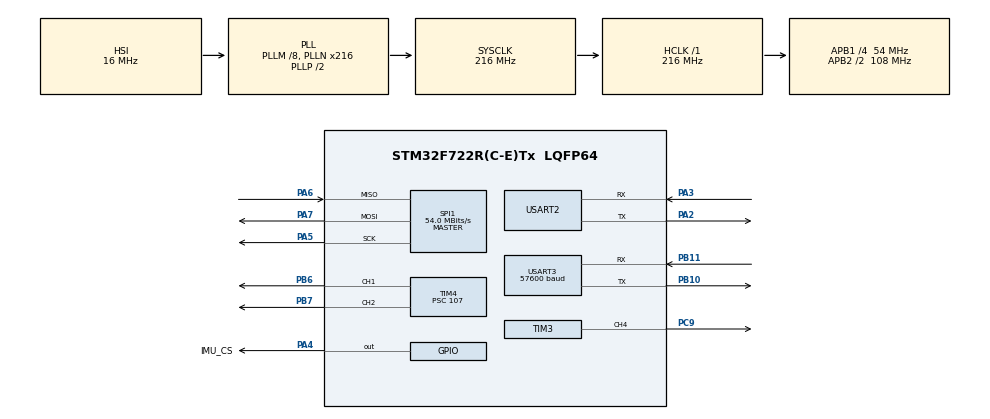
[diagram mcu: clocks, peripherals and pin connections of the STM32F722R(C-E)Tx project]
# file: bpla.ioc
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CORTEX_M7.default_mode_Activation=1
Mcu.Family=STM32F7
Mcu.Name=STM32F722R(C-E)Tx
Mcu.Package=LQFP64
NVIC.PriorityGroup=NVIC_PRIORITYGROUP_4
PA2.Mode=Asynchronous
PA2.Signal=USART2_TX
PA3.Mode=Asynchronous
PA3.Signal=USART2_RX
PA4.GPIO_Label=IMU_CS
PA4.GPIO_PuPd=GPIO_PULLUP
PA4.PinState=GPIO_PIN_SET
PA4.Signal=GPIO_Output
PA5.Mode=Full_Duplex_Master
PA5.Signal=SPI1_SCK
PA6.Mode=Full_Duplex_Master
PA6.Signal=SPI1_MISO
PA7.Mode=Full_Duplex_Master
PA7.Signal=SPI1_MOSI
PB1.Signal=EVENTOUT
PB10.Mode=Asynchronous
PB10.Signal=USART3_TX
PB11.Mode=Asynchronous
PB11.Signal=USART3_RX
PB6.Signal=S_TIM4_CH1
PB7.Signal=S_TIM4_CH2
PC9.Signal=S_TIM3_CH4
ProjectManager.HeapSize=0x200
ProjectManager.StackSize=0x400
ProjectManager.TargetToolchain=STM32CubeIDE
RCC.AHBFreq_Value=216000000
RCC.APB1CLKDivider=RCC_HCLK_DIV4
RCC.APB1Freq_Value=54000000
RCC.APB1TimFreq_Value=108000000
RCC.APB2CLKDivider=RCC_HCLK_DIV2
RCC.APB2Freq_Value=108000000
RCC.APB2TimFreq_Value=216000000
RCC.CortexFreq_Value=216000000
RCC.HCLKFreq_Value=216000000
RCC.HSE_VALUE=26000000
RCC.HSI_VALUE=16000000
RCC.LSE_VALUE=32768
RCC.PLLM=8
RCC.PLLN=216
RCC.SYSCLKFreq_VALUE=216000000
RCC.SYSCLKSource=RCC_SYSCLKSOURCE_PLLCLK
RCC.USBFreq_Value=216000000
RCC.VCOOutputFreq_Value=432000000
SH.S_TIM3_CH4.0=TIM3_CH4,PWM Generation4 CH4
SH.S_TIM4_CH1.0=TIM4_CH1,PWM Generation1 CH1
SH.S_TIM4_CH2.0=TIM4_CH2,PWM Generation2 CH2
SPI1.CLKPhase=SPI_PHASE_2EDGE
SPI1.CLKPolarity=SPI_POLARITY_HIGH
SPI1.CalculateBaudRate=54.0 MBits/s
SPI1.DataSize=SPI_DATASIZE_8BIT
SPI1.Direction=SPI_DIRECTION_2LINES
SPI1.Mode=SPI_MODE_MASTER
SPI1.VirtualType=VM_MASTER
TIM3.Channel-PWM\ Generation4\ CH4=TIM_CHANNEL_4
TIM3.Period=2000
TIM3.Prescaler=107
TIM4.Channel-PWM\ Generation1\ CH1=TIM_CHANNEL_1
TIM4.Channel-PWM\ Generation2\ CH2=TIM_CHANNEL_2
TIM4.Period=2000
TIM4.Prescaler=107
USART2.VirtualMode-Asynchronous=VM_ASYNC
USART3.BaudRate=57600
USART3.VirtualMode-Asynchronous=VM_ASYNC
VP_TIM3_VS_ClockSourceINT.Mode=Internal
VP_TIM4_VS_ClockSourceINT.Mode=Internal
board=custom

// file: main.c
/* USER CODE BEGIN Header */
/**
  ******************************************************************************
  * @file           : main.c
  * @brief          : Main program body
  ******************************************************************************
  * @attention
  *
  * Copyright (c) 2026 STMicroelectronics.
  * All rights reserved.
  *
  * This software is licensed under terms that can be found in the LICENSE file
  * in the root directory of this software component.
  * If no LICENSE file comes with this software, it is provided AS-IS.
  *
  ******************************************************************************
  */
/* USER CODE END Header */
#include "main.h"

/* USER CODE BEGIN Includes */
#define IBUS_FRAME_SIZE 32
#define IBUS_CHANNELS 14

uint8_t ibus_rx_buffer[IBUS_FRAME_SIZE];
uint16_t ibus_channels[IBUS_CHANNELS];

/* USER CODE END Includes */

SPI_HandleTypeDef hspi1;

TIM_HandleTypeDef htim3;
TIM_HandleTypeDef htim4;

UART_HandleTypeDef huart2;
UART_HandleTypeDef huart3;

char rx_buffer[32]; // Буфер для накопления строки
int rx_index = 0;  // Индекс текущего символа

/* USER CODE BEGIN PV */
uint8_t control_mode = 0; // 0 - пульт (iBus), 1 - радио (UART)
uint8_t cmd_byte = 0;
int16_t right_elevon;
int16_t left_elevon;
float angle_roll = 0, angle_pitch = 0;
float angleX_gyro = 0, angleY_gyro = 0, yaw = 0;
uint32_t last_tick = 0;
const float K_DRONE = 0.05f; // Коэффициент фильтра

/* USER CODE END PV */

void SystemClock_Config(void);
static void MPU_Config(void);
static void MX_GPIO_Init(void);
static void MX_USART2_UART_Init(void);
static void MX_TIM4_Init(void);
static void MX_SPI1_Init(void);
static void MX_USART3_UART_Init(void);
static void MX_TIM3_Init(void);

/* USER CODE BEGIN 0 */
/* USER CODE BEGIN 0 */
int _write(int file, char *ptr, int len){
	HAL_UART_Transmit(&huart3, (uint8_t*) ptr, len, 100); return len;
}
void Process_Radio_Commands(UART_HandleTypeDef *huart) {
	if (__HAL_UART_GET_FLAG(huart, UART_FLAG_ORE) != RESET) {
	        __HAL_UART_CLEAR_OREFLAG(huart);
	    }

    uint8_t byte = 0;

    // Используем таймаут 0, чтобы не блокировать цикл
    while(HAL_UART_Receive(huart, &byte, 1, 0) == HAL_OK){
    	if(byte =='\n' || byte =='\r'){
    		rx_buffer[rx_index] = '\0';  //закрываем строку

    		if (rx_index > 0){
    			char cmd;
    			int arg;

    			//парсим накопленное
    			if(sscanf(rx_buffer, "%c %d", &cmd, &arg) >=2){
    				switch(cmd) {
    					case '1':
    						//Тангаж, вверх
    						TIM4->CCR2 = arg; TIM4->CCR1 = arg;
    						break;
    				    case '2':
    				    	//Тангаж вниз
    				    	TIM4->CCR2 = arg; TIM4->CCR1 = arg;
    				        break;
    				    case '3':
    				        //Крен влево
    				        TIM4->CCR2 = 3000 - arg; TIM4->CCR1 = arg;
    				        break;
    				    case '4':
    				        //Крен вправо
    				        TIM4->CCR2 = arg; TIM4->CCR1 = 3000 - arg;
    				        break;
    				    case '0':
    				        //нейтраль
    				        TIM4->CCR2 = 1500; TIM4->CCR1 = 1500;
    				        break;
    				    case '9'://запуск параш
    				        TIM3->CCR4 = 500;
    				        break;
    				    case '8'://стоп параш
    				        TIM3->CCR4 = 1500;
    				        break;
    				    default:
    				        break;
    			}
    		}
    	}
    	rx_index = 0; //обнуляем индекс для следующей команды
    }
    else{
    	if (rx_index < (sizeof(rx_buffer) - 1)) {
    		rx_buffer[rx_index++] = (char)byte;
    	}

    }
}
}

/* USER CODE END 0 */

int main(void)
{

  /* USER CODE BEGIN 1 */
	void hello_imu(void){
		  uint8_t data_rx[8];
		  uint8_t who_am_i = 0x75 | 0x80; // 0x80 - маска с приёмом данных читать даташит !!!!!
		  HAL_GPIO_WritePin(GPIOA, GPIO_PIN_4, 0);
		  HAL_SPI_Transmit(&hspi1, &who_am_i, 1, 100); //просим данные в регистр who_am_i он его не видит
		  HAL_SPI_Receive(&hspi1, &data_rx, 8, 100);
		  HAL_GPIO_WritePin(GPIOA, GPIO_PIN_4, 1);
	}

	uint16_t get_data_accel_axis(uint8_t upper_register_accel_axis){
		uint8_t data_accel = upper_register_accel_axis | 0x80;
		uint8_t data_accel_buff[2];
		HAL_GPIO_WritePin(GPIOA, GPIO_PIN_4, 0);
		HAL_SPI_Transmit(&hspi1, &data_accel, 1, 100);
		HAL_SPI_Receive(&hspi1, data_accel_buff, 2, 100);
		HAL_GPIO_WritePin(GPIOA, GPIO_PIN_4, 1);

		return (uint16_t)((data_accel_buff[0] << 8) | data_accel_buff[1]);
	}

	uint16_t get_data_gyro_axis(uint8_t upper_register_gyro_axis){
		uint8_t data_gyro = upper_register_gyro_axis | 0x80;
		uint8_t data_gyro_buff[2];
		HAL_GPIO_WritePin(GPIOA, GPIO_PIN_4, 0);
		HAL_SPI_Transmit(&hspi1, &data_gyro, 1, 100);
		HAL_SPI_Receive(&hspi1, data_gyro_buff, 2, 100);
		HAL_GPIO_WritePin(GPIOA, GPIO_PIN_4, 1);

		return (uint16_t)((data_gyro_buff[0] << 8) | data_gyro_buff[1]);
	}
  /* USER CODE END 1 */

  /* MPU Configuration--------------------------------------------------------*/
  MPU_Config();

  /* MCU Configuration--------------------------------------------------------*/

  /* Reset of all peripherals, Initializes the Flash interface and the Systick. */
  HAL_Init();

  /* Configure the system clock */
  SystemClock_Config();

  /* Initialize all configured peripherals */
  MX_GPIO_Init();
  MX_USART2_UART_Init();
  MX_TIM4_Init();
  MX_SPI1_Init();
  MX_USART3_UART_Init();
  MX_TIM3_Init();
  /* USER CODE BEGIN 2 */
 // HAL_UART_Receive_DMA(&huart2, ibus_rx_buffer, 32);
  HAL_TIM_PWM_Start(&htim4, TIM_CHANNEL_1);
  HAL_TIM_PWM_Start(&htim4, TIM_CHANNEL_2);
  HAL_TIM_PWM_Start(&htim3, TIM_CHANNEL_4);
 // setup_function_imu();
  //TIM4->CCR2 = 1000;

  /* USER CODE END 2 */

  /* Infinite loop */
  while (1)
  {

    /* USER CODE BEGIN 3 */
	  //TIM4->CCR2 = 1000;
	  //HAL_Delay(500);
	  //TIM4->CCR2 = 2000;
	  //HAL_Delay(500);
	  // 1. Получаем сырые данные из библиотеки(imu.ax, imu.gx и т.д.)
// IMU_data_update();

	  // 2. Фильтруем их и отправляем в консоль Python0
//	  update_fltr_and_send();

	  // 3. Слушаем джойстик (управление)

	 Process_Radio_Commands(&huart3);

//	  HAL_Delay(10); // Частота ~100 Гц
/*
	  if (ibus_rx_buffer[0] == 0x20 && ibus_rx_buffer[1] == 0x40){
		  uint16_t calculate = 0xFFFF;
		  for(int i = 0; i < 30; i++){
			  calculate -= ibus_rx_buffer[i];
		  }

		  uint16_t rbp = 0x0000;
		  rbp = ibus_rx_buffer[31];
		  rbp = (rbp << 8);

		  if (calculate == rbp | ibus_rx_buffer[30]){
			  for (int ch = 0; ch < 6; ch++) {
			             ibus_channels[ch] = ibus_rx_buffer[2 + ch*2] | (ibus_rx_buffer[3 + ch*2] << 8);
			         }

			  //значения крена (roll) и тангажа (pitch) 1000-2000
			  // тангаж ch2 крен ch1
			  int16_t roll = ((int16_t)ibus_channels[1]-1500)/2;
			  int16_t pitch = ((int16_t)ibus_channels[2]-1500)/2;

	  	  	  //int16_t pitch2 = 200;
	  	  	  //int16_t roll2 =100;
			  //int16_t right_elevon = 1500+pitch+roll;
			  //int16_t left_elevon = 1500+pitch-roll;
			  right_elevon = 1000;
			  left_elevon = 1000;

			  TIM4 -> CCR1 = right_elevon;
			  TIM4 -> CCR2 = left_elevon;
		  }
	  }

	  // проверка связи на IMU
	  hello_imu();

	  //получение данных с акселерометра
	  uint16_t data_accel_x = get_data_accel_axis(0x1F);
	  uint16_t data_accel_y = get_data_accel_axis(0x21);
	  uint16_t data_accel_z = get_data_accel_axis(0x23);
	  /*uint8_t data_accel_upper_x = 0x1F | 0x80;
	  uint8_t data_accel_buff[2];
	  HAL_SPI_Transmit(&hspi1, &data_accel_upper_x, 1, 100);
	  HAL_SPI_Receive(&hspi1, data_accel_buff, 2, 100);

	  uint16_t data_accel_x = (uint16_t)((data_accel_buff[0] << 8) | data_accel_buff[1]) ;
*/

  }
  /* USER CODE END 3 */
}

void SystemClock_Config(void)
{
  RCC_OscInitTypeDef RCC_OscInitStruct = {0};
  RCC_ClkInitTypeDef RCC_ClkInitStruct = {0};

  /** Configure the main internal regulator output voltage
  */
  __HAL_RCC_PWR_CLK_ENABLE();
  __HAL_PWR_VOLTAGESCALING_CONFIG(PWR_REGULATOR_VOLTAGE_SCALE1);

  /** Initializes the RCC Oscillators according to the specified parameters
  * in the RCC_OscInitTypeDef structure.
  */
  RCC_OscInitStruct.OscillatorType = RCC_OSCILLATORTYPE_HSI;
  RCC_OscInitStruct.HSIState = RCC_HSI_ON;
  RCC_OscInitStruct.HSICalibrationValue = RCC_HSICALIBRATION_DEFAULT;
  RCC_OscInitStruct.PLL.PLLState = RCC_PLL_ON;
  RCC_OscInitStruct.PLL.PLLSource = RCC_PLLSOURCE_HSI;
  RCC_OscInitStruct.PLL.PLLM = 8;
  RCC_OscInitStruct.PLL.PLLN = 216;
  RCC_OscInitStruct.PLL.PLLP = RCC_PLLP_DIV2;
  RCC_OscInitStruct.PLL.PLLQ = 2;
  if (HAL_RCC_OscConfig(&RCC_OscInitStruct) != HAL_OK)
  {
    Error_Handler();
  }

  /** Activate the Over-Drive mode
  */
  if (HAL_PWREx_EnableOverDrive() != HAL_OK)
  {
    Error_Handler();
  }

  /** Initializes the CPU, AHB and APB buses clocks
  */
  RCC_ClkInitStruct.ClockType = RCC_CLOCKTYPE_HCLK|RCC_CLOCKTYPE_SYSCLK
                              |RCC_CLOCKTYPE_PCLK1|RCC_CLOCKTYPE_PCLK2;
  RCC_ClkInitStruct.SYSCLKSource = RCC_SYSCLKSOURCE_PLLCLK;
  RCC_ClkInitStruct.AHBCLKDivider = RCC_SYSCLK_DIV1;
  RCC_ClkInitStruct.APB1CLKDivider = RCC_HCLK_DIV4;
  RCC_ClkInitStruct.APB2CLKDivider = RCC_HCLK_DIV2;

  if (HAL_RCC_ClockConfig(&RCC_ClkInitStruct, FLASH_LATENCY_7) != HAL_OK)
  {
    Error_Handler();
  }
}

static void MX_SPI1_Init(void)
{

  /* SPI1 parameter configuration*/
  hspi1.Instance = SPI1;
  hspi1.Init.Mode = SPI_MODE_MASTER;
  hspi1.Init.Direction = SPI_DIRECTION_2LINES;
  hspi1.Init.DataSize = SPI_DATASIZE_8BIT;
  hspi1.Init.CLKPolarity = SPI_POLARITY_HIGH;
  hspi1.Init.CLKPhase = SPI_PHASE_2EDGE;
  hspi1.Init.NSS = SPI_NSS_SOFT;
  hspi1.Init.BaudRatePrescaler = SPI_BAUDRATEPRESCALER_2;
  hspi1.Init.FirstBit = SPI_FIRSTBIT_MSB;
  hspi1.Init.TIMode = SPI_TIMODE_DISABLE;
  hspi1.Init.CRCCalculation = SPI_CRCCALCULATION_DISABLE;
  hspi1.Init.CRCPolynomial = 7;
  hspi1.Init.CRCLength = SPI_CRC_LENGTH_DATASIZE;
  hspi1.Init.NSSPMode = SPI_NSS_PULSE_DISABLE;
  if (HAL_SPI_Init(&hspi1) != HAL_OK)
  {
    Error_Handler();
  }

}

static void MX_TIM3_Init(void)
{

  TIM_ClockConfigTypeDef sClockSourceConfig = {0};
  TIM_MasterConfigTypeDef sMasterConfig = {0};
  TIM_OC_InitTypeDef sConfigOC = {0};

  htim3.Instance = TIM3;
  htim3.Init.Prescaler = 107;
  htim3.Init.CounterMode = TIM_COUNTERMODE_UP;
  htim3.Init.Period = 2000;
  htim3.Init.ClockDivision = TIM_CLOCKDIVISION_DIV1;
  htim3.Init.AutoReloadPreload = TIM_AUTORELOAD_PRELOAD_DISABLE;
  if (HAL_TIM_Base_Init(&htim3) != HAL_OK)
  {
    Error_Handler();
  }
  sClockSourceConfig.ClockSource = TIM_CLOCKSOURCE_INTERNAL;
  if (HAL_TIM_ConfigClockSource(&htim3, &sClockSourceConfig) != HAL_OK)
  {
    Error_Handler();
  }
  if (HAL_TIM_PWM_Init(&htim3) != HAL_OK)
  {
    Error_Handler();
  }
  sMasterConfig.MasterOutputTrigger = TIM_TRGO_RESET;
  sMasterConfig.MasterSlaveMode = TIM_MASTERSLAVEMODE_DISABLE;
  if (HAL_TIMEx_MasterConfigSynchronization(&htim3, &sMasterConfig) != HAL_OK)
  {
    Error_Handler();
  }
  sConfigOC.OCMode = TIM_OCMODE_PWM1;
  sConfigOC.Pulse = 0;
  sConfigOC.OCPolarity = TIM_OCPOLARITY_HIGH;
  sConfigOC.OCFastMode = TIM_OCFAST_DISABLE;
  if (HAL_TIM_PWM_ConfigChannel(&htim3, &sConfigOC, TIM_CHANNEL_4) != HAL_OK)
  {
    Error_Handler();
  }
  HAL_TIM_MspPostInit(&htim3);

}

static void MX_TIM4_Init(void)
{

  TIM_ClockConfigTypeDef sClockSourceConfig = {0};
  TIM_MasterConfigTypeDef sMasterConfig = {0};
  TIM_OC_InitTypeDef sConfigOC = {0};

  htim4.Instance = TIM4;
  htim4.Init.Prescaler = 107;
  htim4.Init.CounterMode = TIM_COUNTERMODE_UP;
  htim4.Init.Period = 2000;
  htim4.Init.ClockDivision = TIM_CLOCKDIVISION_DIV1;
  htim4.Init.AutoReloadPreload = TIM_AUTORELOAD_PRELOAD_DISABLE;
  if (HAL_TIM_Base_Init(&htim4) != HAL_OK)
  {
    Error_Handler();
  }
  sClockSourceConfig.ClockSource = TIM_CLOCKSOURCE_INTERNAL;
  if (HAL_TIM_ConfigClockSource(&htim4, &sClockSourceConfig) != HAL_OK)
  {
    Error_Handler();
  }
  if (HAL_TIM_PWM_Init(&htim4) != HAL_OK)
  {
    Error_Handler();
  }
  sMasterConfig.MasterOutputTrigger = TIM_TRGO_RESET;
  sMasterConfig.MasterSlaveMode = TIM_MASTERSLAVEMODE_DISABLE;
  if (HAL_TIMEx_MasterConfigSynchronization(&htim4, &sMasterConfig) != HAL_OK)
  {
    Error_Handler();
  }
  sConfigOC.OCMode = TIM_OCMODE_PWM1;
  sConfigOC.Pulse = 0;
  sConfigOC.OCPolarity = TIM_OCPOLARITY_HIGH;
  sConfigOC.OCFastMode = TIM_OCFAST_DISABLE;
  if (HAL_TIM_PWM_ConfigChannel(&htim4, &sConfigOC, TIM_CHANNEL_1) != HAL_OK)
  {
    Error_Handler();
  }
  if (HAL_TIM_PWM_ConfigChannel(&htim4, &sConfigOC, TIM_CHANNEL_2) != HAL_OK)
  {
    Error_Handler();
  }
  HAL_TIM_MspPostInit(&htim4);

}

static void MX_USART2_UART_Init(void)
{

  huart2.Instance = USART2;
  huart2.Init.BaudRate = 115200;
  huart2.Init.WordLength = UART_WORDLENGTH_8B;
  huart2.Init.StopBits = UART_STOPBITS_1;
  huart2.Init.Parity = UART_PARITY_NONE;
  huart2.Init.Mode = UART_MODE_TX_RX;
  huart2.Init.HwFlowCtl = UART_HWCONTROL_NONE;
  huart2.Init.OverSampling = UART_OVERSAMPLING_16;
  huart2.Init.OneBitSampling = UART_ONE_BIT_SAMPLE_DISABLE;
  huart2.AdvancedInit.AdvFeatureInit = UART_ADVFEATURE_NO_INIT;
  if (HAL_UART_Init(&huart2) != HAL_OK)
  {
    Error_Handler();
  }

}

static void MX_USART3_UART_Init(void)
{

  huart3.Instance = USART3;
  huart3.Init.BaudRate = 57600;
  huart3.Init.WordLength = UART_WORDLENGTH_8B;
  huart3.Init.StopBits = UART_STOPBITS_1;
  huart3.Init.Parity = UART_PARITY_NONE;
  huart3.Init.Mode = UART_MODE_TX_RX;
  huart3.Init.HwFlowCtl = UART_HWCONTROL_NONE;
  huart3.Init.OverSampling = UART_OVERSAMPLING_16;
  huart3.Init.OneBitSampling = UART_ONE_BIT_SAMPLE_DISABLE;
  huart3.AdvancedInit.AdvFeatureInit = UART_ADVFEATURE_NO_INIT;
  if (HAL_UART_Init(&huart3) != HAL_OK)
  {
    Error_Handler();
  }

}

static void MX_GPIO_Init(void)
{
  GPIO_InitTypeDef GPIO_InitStruct = {0};

  /* GPIO Ports Clock Enable */
  __HAL_RCC_GPIOA_CLK_ENABLE();
  __HAL_RCC_GPIOB_CLK_ENABLE();
  __HAL_RCC_GPIOC_CLK_ENABLE();

  /*Configure GPIO pin Output Level */
  HAL_GPIO_WritePin(IMU_CS_GPIO_Port, IMU_CS_Pin, GPIO_PIN_SET);

  /*Configure GPIO pin : IMU_CS_Pin */
  GPIO_InitStruct.Pin = IMU_CS_Pin;
  GPIO_InitStruct.Mode = GPIO_MODE_OUTPUT_PP;
  GPIO_InitStruct.Pull = GPIO_PULLUP;
  GPIO_InitStruct.Speed = GPIO_SPEED_FREQ_LOW;
  HAL_GPIO_Init(IMU_CS_GPIO_Port, &GPIO_InitStruct);

  /*Configure GPIO pin : PB1 */
  GPIO_InitStruct.Pin = GPIO_PIN_1;
  GPIO_InitStruct.Mode = GPIO_MODE_AF_PP;
  GPIO_InitStruct.Pull = GPIO_NOPULL;
  GPIO_InitStruct.Speed = GPIO_SPEED_FREQ_LOW;
  GPIO_InitStruct.Alternate = GPIO_AF15_EVENTOUT;
  HAL_GPIO_Init(GPIOB, &GPIO_InitStruct);

}

 /* MPU Configuration */

void MPU_Config(void)
{
  MPU_Region_InitTypeDef MPU_InitStruct = {0};

  /* Disables the MPU */
  HAL_MPU_Disable();

  /** Initializes and configures the Region and the memory to be protected
  */
  MPU_InitStruct.Enable = MPU_REGION_ENABLE;
  MPU_InitStruct.Number = MPU_REGION_NUMBER0;
  MPU_InitStruct.BaseAddress = 0x0;
  MPU_InitStruct.Size = MPU_REGION_SIZE_4GB;
  MPU_InitStruct.SubRegionDisable = 0x87;
  MPU_InitStruct.TypeExtField = MPU_TEX_LEVEL0;
  MPU_InitStruct.AccessPermission = MPU_REGION_NO_ACCESS;
  MPU_InitStruct.DisableExec = MPU_INSTRUCTION_ACCESS_DISABLE;
  MPU_InitStruct.IsShareable = MPU_ACCESS_SHAREABLE;
  MPU_InitStruct.IsCacheable = MPU_ACCESS_NOT_CACHEABLE;
  MPU_InitStruct.IsBufferable = MPU_ACCESS_NOT_BUFFERABLE;

  HAL_MPU_ConfigRegion(&MPU_InitStruct);
  /* Enables the MPU */
  HAL_MPU_Enable(MPU_PRIVILEGED_DEFAULT);

}

void Error_Handler(void)
{
  __disable_irq();
  while (1)
  {
  }
}
